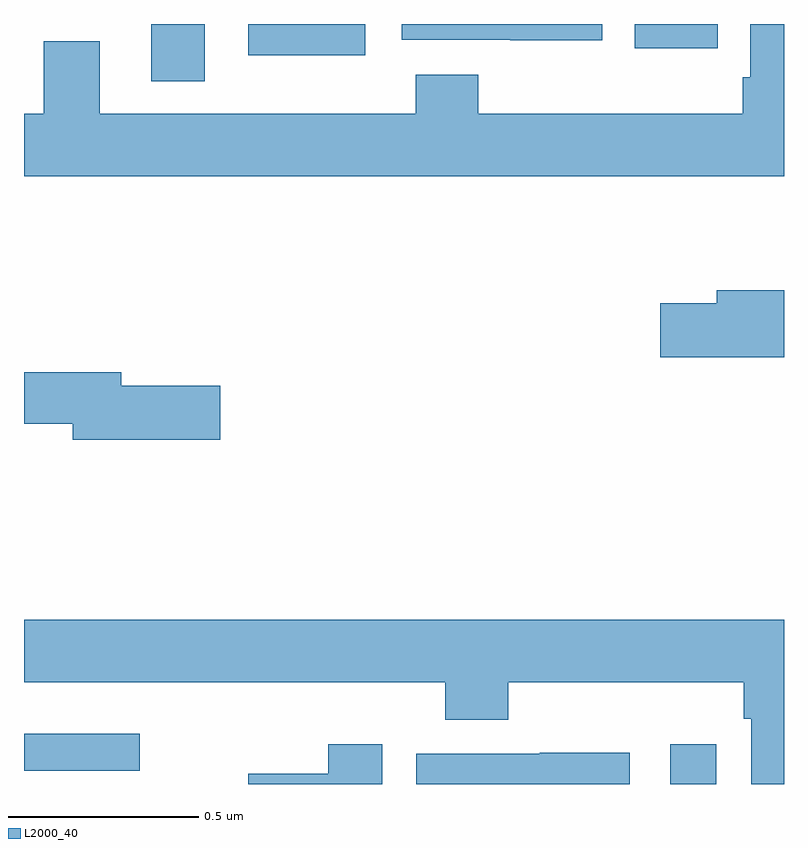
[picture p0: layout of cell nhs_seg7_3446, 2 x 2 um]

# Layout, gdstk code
import gdstk
lib = gdstk.Library(unit=1e-6, precision=1e-09)
def R(c, l, rs):  # rectangles x0, y0, x1, y1
    for r in rs: c.add(gdstk.rectangle(r[:2], r[2:], *l))
def P(c, l, *ps):  # polygons
    for p in ps: c.add(gdstk.Polygon(p, *l))
L2000_40 = (2000, 40)

nhs_seg7_3446 = lib.new_cell('nhs_seg7_3446')
R(nhs_seg7_3446, L2000_40, [(160.7,1015,160.822,1015.105), (159,1015.035,159.304,1015.132), (159.335,1016.85,159.475,1017), (159.59,1016.918,159.898,1017), (160.607,1016.936,160.826,1017)])
P(nhs_seg7_3446, L2000_40, [(161,1017),(160.911,1017),(160.911,1016.86),(160.891,1016.86),(160.891,1016.764),(160.196,1016.764),(160.196,1016.866),(160.031,1016.866),(160.031,1016.764),(159.199,1016.764),(159.199,1016.954),(159.052,1016.954),(159.052,1016.764),(159,1016.764),(159,1016.6),(161,1016.6)],
  [(160.522,1017),(159.994,1017),(159.994,1016.958),(160.279,1016.958),(160.279,1016.957),(160.522,1016.957)],
  [(161,1016.299),(160.823,1016.299),(160.823,1016.265),(160.674,1016.265),(160.674,1016.123),(161,1016.123)],
  [(159.517,1016.048),(159.256,1016.048),(159.256,1016.084),(159,1016.084),(159,1015.948),(159.128,1015.948),(159.128,1015.906),(159.517,1015.906)],
  [(161,1015.432),(159,1015.432),(159,1015.268),(160.109,1015.268),(160.109,1015.169),(160.274,1015.169),(160.274,1015.268),(160.894,1015.268),(160.894,1015.172),(160.914,1015.172),(160.914,1015),(161,1015)],
  [(159.943,1015.105),(159.8,1015.105),(159.8,1015.027),(159.59,1015.027),(159.59,1015),(159.943,1015)],
  [(160.594,1015.082),(160.357,1015.082),(160.357,1015.08),(160.032,1015.08),(160.032,1015),(160.594,1015)])

lib.write_gds('nhs_seg7_3446.gds')
